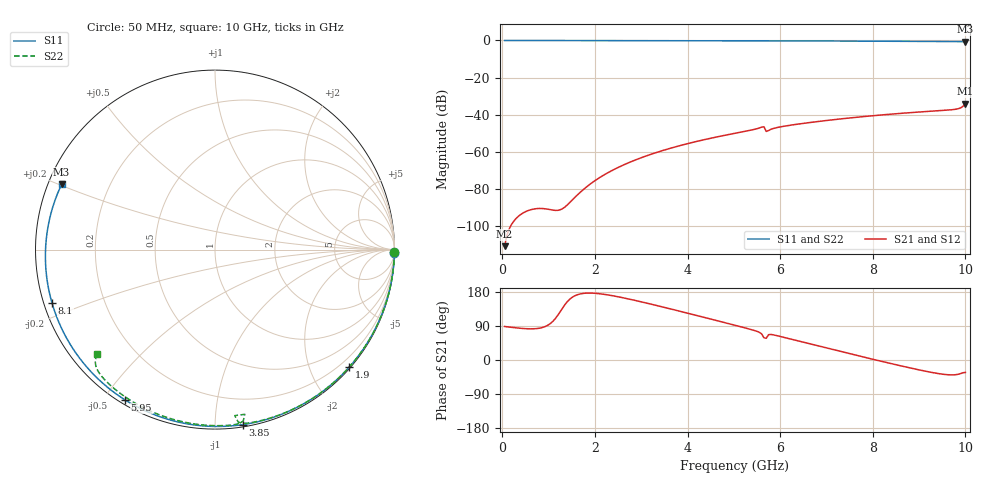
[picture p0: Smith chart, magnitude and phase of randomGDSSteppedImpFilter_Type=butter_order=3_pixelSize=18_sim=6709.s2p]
! freq	dB(S11)	phase(S11)	dB(S12)	phase(S12)
!  dB(S21)	phase(S21)	dB(S22)	phase(S22)
!S-par simulation data
#  GHz  S  DB  R 50
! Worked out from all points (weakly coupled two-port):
!   200 points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, 50 MHz to 10 GHz, reference 50 ohm
!   highest |S21| = -34.09 dB at 10 GHz (marker M1); lowest = -110.9 dB at 50 MHz (marker M2)
!   lowest |S11| = -0.6 dB at 10 GHz (marker M3), VSWR 27.06, Z = 1.92 + j10.2 ohm
!   |S11| at or under -10 dB: nowhere
!   |S22| runs from -1.1 to 0.0 dB; largest |S21 - S12| = 0
!   S11 on the Smith chart (normalised r, x): 50 MHz: open; 1.9 GHz: 0.02, -2.65; 3.85 GHz: 0.02, -1.17; 5.95 GHz: 0.02, -0.57; 8.1 GHz: 0.02, -0.16; 10 GHz: 0.04, +0.20
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0.05  -0.00 -1.1  -110.90 88.4  -110.90 88.4  -0.00 -0.8
0.85  -0.02 -18.7  -90.59 85.2  -90.59 85.2  -0.02 -13.0
1.75  -0.05 -38.1  -80.37 175.8  -80.37 175.8  -0.03 -26.6
1.9  -0.05 -41.3  -77.38 176.6  -77.38 176.6  -0.04 -28.9
2.2  -0.06 -47.6  -72.44 173.3  -72.44 173.3  -0.04 -33.3
2.55  -0.07 -54.9  -67.89 165.6  -67.89 165.6  -0.05 -38.4
3.4  -0.10 -72.1  -59.83 141.8  -59.83 141.8  -0.07 -50.7
3.85  -0.11 -81.0  -56.60 128.2  -56.60 128.2  -0.08 -57.0
5.05  -0.16 -104.1  -49.92 90.9  -49.92 90.9  -0.11 -73.5
5.55  -0.19 -113.4  -47.21 73.1  -47.21 73.1  -0.19 -81.1
5.65  -0.19 -115.3  -46.53 58.7  -46.53 58.7  -0.62 -83.2
5.7  -0.20 -116.2  -49.06 57.3  -49.06 57.3  -0.61 -79.8
5.8  -0.20 -118.1  -47.91 67.5  -47.91 67.5  -0.20 -81.8
5.95  -0.21 -120.9  -46.86 63.6  -46.86 63.6  -0.16 -84.4
6.7  -0.26 -134.9  -44.06 40.7  -44.06 40.7  -0.18 -94.3
7.4  -0.32 -148.1  -42.05 19.6  -42.05 19.6  -0.22 -103.0
8.1  -0.39 -161.7  -40.36 -1.0  -40.36 -1.0  -0.27 -111.5
8.35  -0.42 -166.8  -39.82 -8.2  -39.82 -8.2  -0.29 -114.5
9.05  -0.51 178.6  -38.49 -27.4  -38.49 -27.4  -0.36 -123.0
9.75  -0.60 162.9  -37.24 -39.2  -37.24 -39.2  -0.49 -132.6
9.9  -0.63 159.3  -36.30 -35.8  -36.30 -35.8  -0.65 -135.7
10  -0.64 156.9  -34.09 -32.7  -34.09 -32.7  -1.12 -138.4
